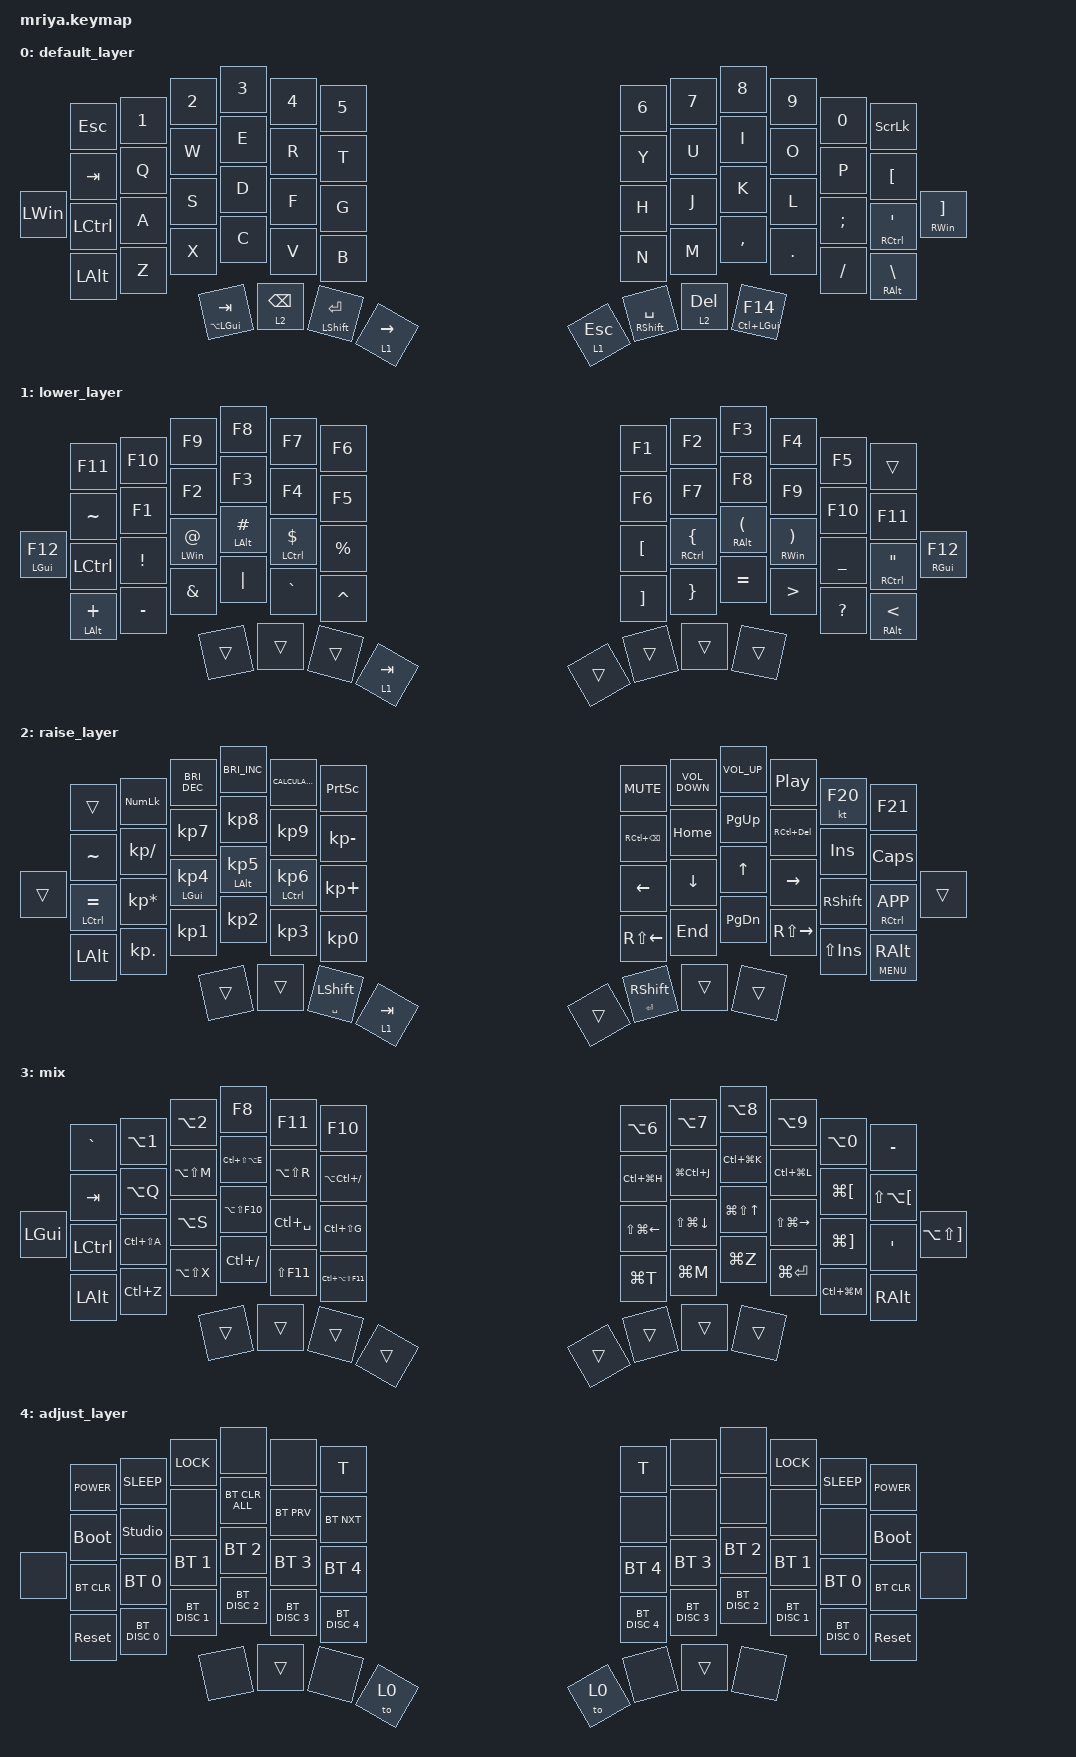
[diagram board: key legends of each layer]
/*
 * Copyright (c) 2023 Andrei Gaevskii
 *
 * SPDX-License-Identifier: MIT
 */

#include <behaviors.dtsi>
#include <dt-bindings/zmk/bt.h>
#include <dt-bindings/zmk/keys.h>

#define DEF 0
#define LWR 1
#define RSE 2
#define ADJ 3

&lt { quick-tap-ms = <200>; };

&mt { quick-tap-ms = <200>; };

/ {
    combos {
        compatible = "zmk,combos";

        to_3_l {
            bindings = <&to 4>;
            key-positions = <50 53 12>;
        };

        to_0 {
            bindings = <&to 0>;
            key-positions = <54 53>;
        };

        to_3_r {
            bindings = <&to 4>;
            key-positions = <54 57 25>;
        };

        undo {
            bindings = <&kp LC(Z)>;
            key-positions = <39 40>;
        };

        copy {
            bindings = <&kp LC(C)>;
            key-positions = <40 41>;
        };

        paste {
            bindings = <&kp LC(V)>;
            key-positions = <41 42>;
        };

        cut {
            bindings = <&kp LC(X)>;
            key-positions = <42 39>;
        };

        f14 {
            bindings = <&kp F14>;
            key-positions = <52 55>;
            timeout-ms = <50>;
        };

        alt_ctrl_combo {
            bindings = <&kp LC(LALT)>;
            key-positions = <26 37>;
        };

        mix {
            bindings = <&tog 3>;
            key-positions = <51 56>;
        };
    };

    keymap {
        compatible = "zmk,keymap";

        default_layer {
            bindings = <
          &kp ESC    &kp N1  &kp N2                &kp N3           &kp N4           &kp N5         &kp N6     &kp N7           &kp N8        &kp N9                &kp N0    &kp SCROLLLOCK
&kp LWIN  &kp TAB    &kp Q   &kp W                 &kp E            &kp R            &kp T          &kp Y      &kp U            &kp I         &kp O                 &kp P     &kp LBKT        &mt RWIN RBKT
          &kp LCTRL  &kp A   &kp S                 &kp D            &kp F            &kp G          &kp H      &kp J            &kp K         &kp L                 &kp SEMI  &mt RCTRL SQT
          &kp LALT   &kp Z   &kp X                 &kp C            &kp V            &kp B          &kp N      &kp M            &kp COMMA     &kp DOT               &kp FSLH  &mt RALT BSLH
                             &mt LA(LEFT_GUI) TAB  &lt 2 BACKSPACE  &mt LSHFT ENTER  &lt 1 RIGHT    &lt 1 ESC  &mt RSHFT SPACE  &lt 2 DELETE  &mt LC(LEFT_GUI) F14
            >;
        };

        lower_layer {
            bindings = <
                  &kp F11            &kp F10    &kp F9                &kp F8             &kp F7            &kp F6       &kp F1             &kp F2                &kp F3                          &kp F4                           &kp F5          &trans
&mt LEFT_GUI F12  &kp TILDE          &kp F1     &kp F2                &kp F3             &kp F4            &kp F5       &kp F6             &kp F7                &kp F8                          &kp F9                           &kp F10         &kp F11                  &mt RGUI F12
                  &kp LCTRL          &kp EXCL   &mt LEFT_WIN AT_SIGN  &mt LEFT_ALT HASH  &mt LCTRL DOLLAR  &kp PRCNT    &kp LEFT_BRACKET   &mt RCTRL LEFT_BRACE  &mt RIGHT_ALT LEFT_PARENTHESIS  &mt RIGHT_WIN RIGHT_PARENTHESIS  &kp UNDERSCORE  &mt RCTRL DOUBLE_QUOTES
                  &mt LEFT_ALT PLUS  &kp MINUS  &kp AMPERSAND         &kp PIPE           &kp GRAVE         &kp CARET    &kp RIGHT_BRACKET  &kp RIGHT_BRACE       &kp EQUAL                       &kp GREATER_THAN                 &kp QUESTION    &mt RIGHT_ALT LESS_THAN
                                                &trans                &trans             &trans            &lt 1 TAB    &trans             &trans                &trans                          &trans
            >;
        };

        raise_layer {
            bindings = <
        &trans           &kp KP_NUMLOCK   &kp C_BRIGHTNESS_DEC      &kp C_BRIGHTNESS_INC  &kp K_CALCULATOR      &kp PRINTSCREEN    &kp C_MUTE          &kp C_VOLUME_DOWN      &kp C_VOLUME_UP  &kp C_PLAY_PAUSE     &kt F20         &kp F21
&trans  &kp TILDE        &kp KP_SLASH     &kp KP_N7                 &kp KP_N8             &kp KP_N9             &kp KP_MINUS       &kp RC(BACKSPACE)   &kp HOME               &kp PG_UP        &kp RC(DELETE)       &kp INSERT      &kp CAPS         &trans
        &mt LCTRL EQUAL  &kp KP_MULTIPLY  &mt LEFT_GUI KP_NUMBER_4  &mt LEFT_ALT KP_N5    &mt LCTRL KP_N6       &kp KP_PLUS        &kp LEFT_ARROW      &kp DOWN               &kp UP           &kp RIGHT            &kp RSHIFT      &mt RCTRL K_APP
        &kp LEFT_ALT     &kp KP_DOT       &kp KP_N1                 &kp KP_N2             &kp KP_N3             &kp KP_N0          &kp RS(LEFT_ARROW)  &kp END                &kp PAGE_DOWN    &kp RS(RIGHT_ARROW)  &kp LS(INSERT)  &mt K_MENU RALT
                                          &trans                    &trans                &mt SPACE LEFT_SHIFT  &lt 1 TAB          &trans              &mt ENTER RIGHT_SHIFT  &trans           &trans
            >;
        };

        mix {
            bindings = <
          &kp GRAVE  &kp LA(N1)     &kp LA(N2)     &kp F8             &kp F11        &kp F10                &kp LA(N6)              &kp LA(N7)              &kp LA(N8)            &kp LA(N9)               &kp LA(N0)             &kp MINUS
&kp LGUI  &kp TAB    &kp LA(Q)      &kp LA(LS(M))  &kp LC(LS(LA(E)))  &kp LA(LS(R))  &kp LA(LC(SLASH))      &kp LC(LG(H))           &kp LG(LC(J))           &kp LC(LG(K))         &kp LC(LG(L))            &kp LG(LEFT_BRACKET)   &kp LS(LA(LEFT_BRACKET))  &kp LA(LS(RBKT))
          &kp LCTRL  &kp LC(LS(A))  &kp LA(S)      &kp LA(LS(F10))    &kp LC(SPACE)  &kp LC(LS(G))          &kp LS(LG(LEFT_ARROW))  &kp LS(LG(DOWN_ARROW))  &kp LG(LS(UP_ARROW))  &kp LS(LG(RIGHT_ARROW))  &kp LG(RIGHT_BRACKET)  &kp APOS
          &kp LALT   &kp LC(Z)      &kp LA(LS(X))  &kp LC(SLASH)      &kp LS(F11)    &kp LC(LA(LS(F11)))    &kp LG(T)               &kp LG(M)               &kp LG(Z)             &kp LG(ENTER)            &kp LC(LG(M))          &kp RIGHT_ALT
                                    &trans         &trans             &trans         &trans                 &trans                  &trans                  &trans                &trans
            >;
        };

        adjust_layer {
            bindings = <
       &kp K_POWER  &kp K_SLEEP     &kp K_LOCK     &none           &none          &kp T            &kp T          &none          &none          &kp K_LOCK     &kp K_SLEEP    &kp K_POWER
&none  &bootloader  &studio_unlock  &none          &bt BT_CLR_ALL  &bt BT_PRV     &bt BT_NXT       &none          &none          &none          &none          &none          &bootloader  &none
       &bt BT_CLR   &bt BT_SEL 0    &bt BT_SEL 1   &bt BT_SEL 2    &bt BT_SEL 3   &bt BT_SEL 4     &bt BT_SEL 4   &bt BT_SEL 3   &bt BT_SEL 2   &bt BT_SEL 1   &bt BT_SEL 0   &bt BT_CLR
       &sys_reset   &bt BT_DISC 0   &bt BT_DISC 1  &bt BT_DISC 2   &bt BT_DISC 3  &bt BT_DISC 4    &bt BT_DISC 4  &bt BT_DISC 3  &bt BT_DISC 2  &bt BT_DISC 1  &bt BT_DISC 0  &sys_reset
                                    &none          &trans          &none          &to 0            &to 0          &none          &trans         &none
            >;
        };
    };

    conditional_layers {
        compatible = "zmk,conditional-layers";

        dev {
            if-layers = <1 2>;
            then-layer = <3>;
        };
    };
};
